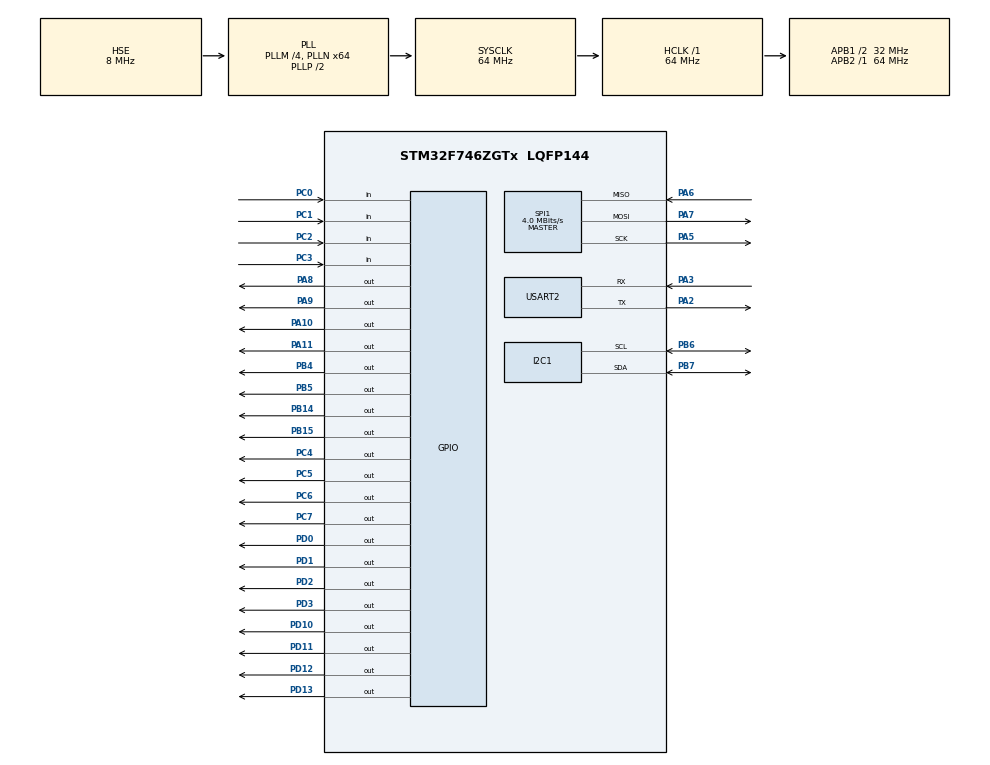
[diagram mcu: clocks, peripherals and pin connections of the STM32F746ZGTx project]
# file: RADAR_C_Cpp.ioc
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I2C1.Timing=0x00707CBB
Mcu.Family=STM32F7
Mcu.Name=STM32F746ZGTx
Mcu.Package=LQFP144
NVIC.PriorityGroup=NVIC_PRIORITYGROUP_4
PA10.Signal=GPIO_Output
PA11.Signal=GPIO_Output
PA13.Mode=Serial_Wire
PA13.Signal=SYS_JTMS-SWDIO
PA14.Mode=Serial_Wire
PA14.Signal=SYS_JTCK-SWCLK
PA2.Mode=Asynchronous
PA2.Signal=USART2_TX
PA3.Mode=Asynchronous
PA3.Signal=USART2_RX
PA5.Mode=Full_Duplex_Master
PA5.Signal=SPI1_SCK
PA6.Mode=Full_Duplex_Master
PA6.Signal=SPI1_MISO
PA7.Mode=Full_Duplex_Master
PA7.Signal=SPI1_MOSI
PA8.Signal=GPIO_Output
PA9.Signal=GPIO_Output
PB14.Signal=GPIO_Output
PB15.Signal=GPIO_Output
PB4.Signal=GPIO_Output
PB5.Signal=GPIO_Output
PB6.Mode=I2C
PB6.Signal=I2C1_SCL
PB7.Mode=I2C
PB7.Signal=I2C1_SDA
PC0.Signal=GPIO_Input
PC1.Signal=GPIO_Input
PC14/OSC32_IN.Mode=LSE-External-Oscillator
PC14/OSC32_IN.Signal=RCC_OSC32_IN
PC15/OSC32_OUT.Mode=LSE-External-Oscillator
PC15/OSC32_OUT.Signal=RCC_OSC32_OUT
PC2.Signal=GPIO_Input
PC3.Signal=GPIO_Input
PC4.Signal=GPIO_Output
PC5.Signal=GPIO_Output
PC6.Signal=GPIO_Output
PC7.Signal=GPIO_Output
PD0.Signal=GPIO_Output
PD1.Signal=GPIO_Output
PD10.Signal=GPIO_Output
PD11.Signal=GPIO_Output
PD12.Signal=GPIO_Output
PD13.Signal=GPIO_Output
PD2.Signal=GPIO_Output
PD3.Signal=GPIO_Output
PH0/OSC_IN.Mode=HSE-External-Oscillator
PH0/OSC_IN.Signal=RCC_OSC_IN
PH1/OSC_OUT.Mode=HSE-External-Oscillator
PH1/OSC_OUT.Signal=RCC_OSC_OUT
ProjectManager.HeapSize=0x200
ProjectManager.StackSize=0x400
ProjectManager.TargetToolchain=STM32CubeIDE
RCC.AHBFreq_Value=64000000
RCC.APB1CLKDivider=RCC_HCLK_DIV2
RCC.APB1Freq_Value=32000000
RCC.APB1TimFreq_Value=64000000
RCC.APB2Freq_Value=64000000
RCC.APB2TimFreq_Value=64000000
RCC.CortexFreq_Value=64000000
RCC.HCLKFreq_Value=64000000
RCC.HSE_VALUE=8000000
RCC.HSI_VALUE=16000000
RCC.PLLM=4
RCC.PLLN=64
RCC.PLLSourceVirtual=RCC_PLLSOURCE_HSE
RCC.SYSCLKFreq_VALUE=64000000
RCC.SYSCLKSource=RCC_SYSCLKSOURCE_PLLCLK
RCC.USBFreq_Value=64000000
RCC.VCOOutputFreq_Value=128000000
SPI1.BaudRatePrescaler=SPI_BAUDRATEPRESCALER_16
SPI1.CalculateBaudRate=4.0 MBits/s
SPI1.DataSize=SPI_DATASIZE_8BIT
SPI1.Direction=SPI_DIRECTION_2LINES
SPI1.Mode=SPI_MODE_MASTER
SPI1.VirtualType=VM_MASTER
USART2.VirtualMode-Asynchronous=VM_ASYNC
VP_TIM1_VS_ClockSourceINT.Mode=Internal
board=custom

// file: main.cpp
/* USER CODE BEGIN Header */
/**
  ******************************************************************************
  * @file           : main.c
  * @brief          : Main program body
  ******************************************************************************
  * @attention
  *
  * Copyright (c) 2025 STMicroelectronics.
  * All rights reserved.
  *
  * This software is licensed under terms that can be found in the LICENSE file
  * in the root directory of this software component.
  * If no LICENSE file comes with this software, it is provided AS-IS.
  *
  ******************************************************************************
  */
/* USER CODE END Header */
#include "main.h"

/* USER CODE BEGIN Includes */
#include "si5351.h"
#include "parameters.h"
#include "adf4382.h"
#include "adar1000.h"
#include "hardware_config.h"
#include "no_os_delay.h"
#include "no_os_alloc.h"
#include "no_os_print_log.h"
#include "no_os_error.h"
#include "no_os_units.h"
#include "no_os_dma.h"
#include "no_os_spi.h"
#include "no_os_uart.h"
#include "no_os_util.h"
#include <stdint.h>
#include <errno.h>
#include <math.h>
#include <stdio.h>
#include <string.h>
#include <inttypes.h>
#include <iostream>
#include <vector>
/* USER CODE END Includes */

/* USER CODE BEGIN PTD */
#define debug_uart	1
#define BUFFER_SIZE 16 //ADAR
#define Delay_scan 1 //Delay between each TX,RX scan// 1 corresponds to 15.6 ns// check delay_15ns() function
#define Delay_scan_rx 1 //Delay between each TX,RX scan// 1 corresponds to 15.6 ns// check delay_15ns() function

 Si5351 si5351;

 ////////////////////////////////////////////////////////////////////////////////
 ///////////////////////////////ADF4382//////////////////////////////////////////
 ////////////////////////////////////////////////////////////////////////////////

 struct no_os_uart_init_param adf4382_uart_ip = {
 	.device_id = UART_DEVICE_ID,
 	.irq_id = UART_IRQ_ID,
 	.asynchronous_rx = true,
 	.baud_rate = UART_BAUDRATE,
 	.size = NO_OS_UART_CS_8,
 	.parity = NO_OS_UART_PAR_NO,
 	.stop = NO_OS_UART_STOP_1_BIT,
 	.platform_ops = UART_OPS,
 	.extra = UART_EXTRA,
 };

 struct no_os_spi_init_param adf4382_spi_ip = {
 	.device_id = SPI_DEVICE_ID,
 	.max_speed_hz = 4000000,
	.chip_select = SPI_CS,
 	.mode = NO_OS_SPI_MODE_0,
 	.bit_order = NO_OS_SPI_BIT_ORDER_MSB_FIRST,
 	.platform_ops = SPI_OPS,
 	.extra = SPI_EXTRA,
 };

 struct adf4382_init_param adf4382_ip = {
 	.spi_init = &adf4382_spi_ip,
 	.spi_3wire_en = false,
 	.cmos_3v3 = false,
 	.ref_freq_hz = 100000000,
 	.freq = 10500000000ULL,
 	.ref_doubler_en = 1,
 	.ref_div = 1,
 	.cp_i = 15,
 	.bleed_word = 4903,
 	.ld_count = 10,
 	.id = ID_ADF4382A,
 };

 struct adf4382_dev *adf4382_device = NULL; // Pointer to device

 ////////////////////////////////////////////////////////////////////////////////
 //////////////////////////////ADAR1000//////////////////////////////////////////
 ////////////////////////////////////////////////////////////////////////////////

 uint8_t txBuffer[BUFFER_SIZE] = {0xA1, 0xB2, 0xC3, 0xD4};  // Example data
 uint8_t rxBuffer1[BUFFER_SIZE] = {0};  // Receive buffer
 uint8_t rxBuffer2[BUFFER_SIZE] = {0};  // Receive buffer
 uint8_t rxBuffer3[BUFFER_SIZE] = {0};  // Receive buffer
 uint8_t rxBuffer4[BUFFER_SIZE] = {0};  // Receive buffer

 uint32_t SpiTransferFunction(uint8_t *p_txData, uint8_t *p_rxData, uint32_t size) {
 	HAL_GPIO_WritePin(GPIO_ADAR, CS_ADAR_1, GPIO_PIN_RESET);
 	HAL_GPIO_WritePin(GPIO_ADAR, CS_ADAR_2, GPIO_PIN_RESET);
 	HAL_GPIO_WritePin(GPIO_ADAR, CS_ADAR_3, GPIO_PIN_RESET);
 	HAL_GPIO_WritePin(GPIO_ADAR, CS_ADAR_4, GPIO_PIN_RESET);
 	HAL_StatusTypeDef status = HAL_SPI_TransmitReceive(&hspi1, p_txData, p_rxData, size, HAL_MAX_DELAY);
    HAL_GPIO_WritePin(GPIO_ADAR, CS_ADAR_1, GPIO_PIN_SET);
    HAL_GPIO_WritePin(GPIO_ADAR, CS_ADAR_2, GPIO_PIN_SET);
    HAL_GPIO_WritePin(GPIO_ADAR, CS_ADAR_3, GPIO_PIN_SET);
    HAL_GPIO_WritePin(GPIO_ADAR, CS_ADAR_4, GPIO_PIN_SET);
    return (status == HAL_OK) ? 0 : 1;  // Return 0 on success, 1 on failure
 }

 /// Generic ADAR device that contains a hardware address, SPI transfer function
 /// and a pointer to a buffer to receive data into.

 // Define the ADAR1000 device instance
 const AdarDevice ADAR1 = {
     .dev_addr = 0x00,               // Example hardware address
     .Transfer = SpiTransferFunction, // Assign SPI function pointer
     .p_rx_buffer = rxBuffer1         // Assign receive buffer
 };
 const AdarDevice ADAR2 = {
     .dev_addr = 0x01,               // Example hardware address
     .Transfer = SpiTransferFunction, // Assign SPI function pointer
     .p_rx_buffer = rxBuffer2         // Assign receive buffer
 };
 const AdarDevice ADAR3 = {
     .dev_addr = 0x10,               // Example hardware address
     .Transfer = SpiTransferFunction, // Assign SPI function pointer
     .p_rx_buffer = rxBuffer3         // Assign receive buffer
 };
 const AdarDevice ADAR4 = {
     .dev_addr = 0x11,               // Example hardware address
     .Transfer = SpiTransferFunction, // Assign SPI function pointer
     .p_rx_buffer = rxBuffer4         // Assign receive buffer
 };

 AdarBiasCurrents ADAR_BC ={ //bias current
	.rx_lna = 8,		///< nominal:  8, low power: 5
	.rx_vm = 5,			///< nominal:  5, low power: 2
	.rx_vga = 10,		///< nominal: 10, low power: 3
	.tx_vm = 5,			///< nominal:  5, low power: 2
	.tx_vga = 5,		///< nominal:  5, low power: 5
	.tx_drv	= 6			///< nominal:  6, low power: 3
 };
/* USER CODE END PTD */

I2C_HandleTypeDef hi2c1;

SPI_HandleTypeDef hspi1;

TIM_HandleTypeDef htim1;

UART_HandleTypeDef huart2;

void SystemClock_Config(void);
static void MX_GPIO_Init(void);
static void MX_I2C1_Init(void);
static void MX_SPI1_Init(void);
static void MX_TIM1_Init(void);
static void MX_USART2_UART_Init(void);
/* USER CODE BEGIN PFP */

void delay_15ns(volatile long unsigned int ns){
__HAL_TIM_SET_COUNTER(&htim1,0);  // set the counter value a
while (__HAL_TIM_GET_COUNTER(&htim1) < ns);  // //Clock TIMx -> AHB/APB1 is set to 64MHz/presc+1   presc = 0
//delay_15ns(1) would perform a delay of 15.6ns
}

/* USER CODE END PFP */

int main(void)
{

  /* MCU Configuration--------------------------------------------------------*/

  /* Reset of all peripherals, Initializes the Flash interface and the Systick. */
  HAL_Init();

  /* Configure the system clock */
  SystemClock_Config();

  /* Initialize all configured peripherals */
  MX_GPIO_Init();
  MX_I2C1_Init();
  MX_SPI1_Init();
  MX_TIM1_Init();
  MX_USART2_UART_Init();
  /* USER CODE BEGIN 2 */

  HAL_TIM_Base_Start(&htim1);
  //////////////////////////////////////////////////////////////////////////////////////
  /////////////////////////////////////Votage Enable////////////////////////////////////
  //////////////////////////////////////////////////////////////////////////////////////

  //3.3V to ADAR should be set before -5V
  HAL_GPIO_WritePin(GPIO_VR, EN_32, GPIO_PIN_SET);//active high
  HAL_GPIO_WritePin(GPIO_VR, EN_42, GPIO_PIN_SET);//active High

  //////////////////////////////////////////////////////////////////////////////////////
  /////////////////////////////////////SI5351///////////////////////////////////////////
  //////////////////////////////////////////////////////////////////////////////////////
  si5351.init(SI5351_CRYSTAL_LOAD_8PF, 0, 0);
  HAL_GPIO_WritePin(GPIO_si5351, SI5351_CLK_EN, GPIO_PIN_RESET);//active low
  HAL_GPIO_WritePin(GPIO_si5351, SI5351_SS_EN, GPIO_PIN_SET);//active High (Spread Spectrum)
  //each unity on set_freq(unityULL, SI5351_CLK4) represents 0.01Hz
  si5351.set_freq(10000000000ULL, SI5351_CLK4);//set FPGA main clock to 100MHz
  si5351.set_freq(10000000000ULL, SI5351_CLK6);//ADF4382 clock
  si5351.update_status();
  HAL_Delay(500);
  if(debug_uart)
  {	  //When the synthesizers are locked and the Si5351 is working correctly, you'll see an output similar to this one (the REVID may be different):
      //SYS_INIT: 0  LOL_A: 0  LOL_B: 0  LOS: 0  REVID: 3
	  char buffer[10];
	  HAL_UART_Transmit(&huart2, (uint8_t*)"PLLA: " , strlen("PLLA: ") , 10);
	  HAL_UART_Transmit(&huart2, (uint8_t*)buffer, sprintf(buffer, "%llu", si5351.plla_freq/100), 10);
	  HAL_UART_Transmit(&huart2, (uint8_t*)"  PLLB: " , strlen("  PLLB: ") , 10);
	  HAL_UART_Transmit(&huart2, (uint8_t*)buffer, sprintf(buffer, "%llu", si5351.pllb_freq/100), 10);
	  HAL_UART_Transmit(&huart2, (uint8_t*)"  SYS_INIT: " , strlen("  SYS_INIT: ") , 10);
	  HAL_UART_Transmit(&huart2, (uint8_t*)buffer, sprintf(buffer, "%u", si5351.dev_status.SYS_INIT), 10);
	  HAL_UART_Transmit(&huart2, (uint8_t*)"  LOL_A: " , strlen("  LOL_A: ") , 10);
	  HAL_UART_Transmit(&huart2, (uint8_t*)buffer, sprintf(buffer, "%u", si5351.dev_status.LOL_A), 10);
	  HAL_UART_Transmit(&huart2, (uint8_t*)"  LOL_B: " , strlen("  LOL_B ") , 10);
	  HAL_UART_Transmit(&huart2, (uint8_t*)buffer, sprintf(buffer, "%u", si5351.dev_status.LOL_B), 10);
	  HAL_UART_Transmit(&huart2, (uint8_t*)"  LOS: " , strlen("  LOS: ") , 10);
	  HAL_UART_Transmit(&huart2, (uint8_t*)buffer, sprintf(buffer, "%u", si5351.dev_status.LOS), 10);
	  HAL_UART_Transmit(&huart2, (uint8_t*)"  REVID: " , strlen("  REVID: ") , 10);
	  HAL_UART_Transmit(&huart2, (uint8_t*)buffer, sprintf(buffer, "%u", si5351.dev_status.REVID), 10);
	  HAL_UART_Transmit(&huart2, (uint8_t*)"\r\n" , strlen("\r\n" ) , 10);
  }

  //////////////////////////////////////////////////////////////////////////////////////
  /////////////////////////////////////ADF4382//////////////////////////////////////////
  //////////////////////////////////////////////////////////////////////////////////////

  int status = adf4382_init(&adf4382_device ,&adf4382_ip);
  if (status != 0) {
      // Handle initialization error
  }

  status = adf4382_set_freq(adf4382_device);
  if (status != 0) {
      // Handle frequency setting error
  }

  adf4382_set_en_chan(adf4382_device, 0, true);
  adf4382_set_en_chan(adf4382_device, 1, true);
  HAL_GPIO_WritePin(GPIO_ADF, ADF_CE, GPIO_PIN_SET);//active High

  //HAL_GPIO_WritePin(GPIO_ADF, ADF_DELSTR, GPIO_PIN_SET);
  //HAL_GPIO_WritePin(GPIO_ADF, ADF_DELADJ, GPIO_PIN_SET);

  //////////////////////////////////////////////////////////////////////////////////////
  /////////////////////////////////////LTC5552 Mixers///////////////////////////////////
  //////////////////////////////////////////////////////////////////////////////////////

  HAL_GPIO_WritePin(GPIO_DIG, DIG_2, GPIO_PIN_SET); //Enable RX Mixer
  HAL_GPIO_WritePin(GPIO_DIG, DIG_3, GPIO_PIN_SET); //Enable TX Mixer

  //////////////////////////////////////////////////////////////////////////////////////
  /////////////////////////////////////ADAR1000/////////////////////////////////////////
  //////////////////////////////////////////////////////////////////////////////////////

	 //phase_step = 0 => phase = 0°
	 //phase_step = 127 => phase = 360°
	 //steering angle (rad)= arcsin(phase_dif/Pi)

  uint8_t matrix1[22][16];
  uint8_t vector_0[16]={0,0,0,0,0,0,0,0,0,0,0,0,0,0,0,0};
  uint8_t matrix2[22][16];
  for(int j=0; j<15;j++){
	  for(int i=0; i<21;i++){
		  matrix1[i][j]=(2*(i+1)*(15-j))%127;
		  matrix2[i][j]=matrix1[i][15-j];
		  i++;
	  }
	  j++;
  }
  Adar_AdcInit(&ADAR1, BROADCAST_OFF);//init. ADC
  Adar_AdcInit(&ADAR2, BROADCAST_OFF);//init. ADC
  Adar_AdcInit(&ADAR3, BROADCAST_OFF);//init. ADC
  Adar_AdcInit(&ADAR4, BROADCAST_OFF);//init. ADC
  uint8_t Temp1 = Adar_AdcRead(&ADAR1,BROADCAST_OFF);//Read ADC from single ADAR
  uint8_t Temp2 = Adar_AdcRead(&ADAR2,BROADCAST_OFF);
  uint8_t Temp3 = Adar_AdcRead(&ADAR3,BROADCAST_OFF);
  uint8_t Temp4 = Adar_AdcRead(&ADAR4,BROADCAST_OFF);

  if(debug_uart){
	  char buffer[10];
	  HAL_UART_Transmit(&huart2, (uint8_t*)"Temp1: " , strlen("Temp1: ") , 10);
	  HAL_UART_Transmit(&huart2, (uint8_t*)buffer, sprintf(buffer, "%u", Temp1), 10);
	  HAL_UART_Transmit(&huart2, (uint8_t*)"  Temp2: " , strlen("  Temp2: ") , 10);
	  HAL_UART_Transmit(&huart2, (uint8_t*)buffer, sprintf(buffer, "%u", Temp2), 10);
	  HAL_UART_Transmit(&huart2, (uint8_t*)"  Temp3: " , strlen("  Temp3: ") , 10);
	  HAL_UART_Transmit(&huart2, (uint8_t*)buffer, sprintf(buffer, "%u", Temp3), 10);
	  HAL_UART_Transmit(&huart2, (uint8_t*)"  Temp4: " , strlen("  Temp4: ") , 10);
	  HAL_UART_Transmit(&huart2, (uint8_t*)buffer, sprintf(buffer, "%u", Temp4), 10);
	  HAL_UART_Transmit(&huart2, (uint8_t*)"\r\n" , strlen("\r\n" ) , 10);
  }

  Adar_SetBiasCurrents(&ADAR1,&ADAR_BC,BROADCAST_OFF);
  Adar_SetBiasCurrents(&ADAR2,&ADAR_BC,BROADCAST_OFF);
  Adar_SetBiasCurrents(&ADAR3,&ADAR_BC,BROADCAST_OFF);
  Adar_SetBiasCurrents(&ADAR4,&ADAR_BC,BROADCAST_OFF);

  uint8_t bias_on_voltage [5] = {0x39, 0x39, 0x39, 0x39, 0x00};//V_PA = -1.1V; V_LNA = 0V
  uint8_t bias_off_voltage [5] = {0x85, 0x85, 0x85, 0x85, 0x68};//V_PA = -2.5V; V_LNA = -2V

  HAL_GPIO_WritePin(GPIO_DIG, DIG_0, GPIO_PIN_RESET);//reset TR pin on FPGA for RX mode
  Adar_SetBiasVoltages(&ADAR1, bias_on_voltage, bias_off_voltage);
  Adar_SetBiasVoltages(&ADAR2, bias_on_voltage, bias_off_voltage);
  Adar_SetBiasVoltages(&ADAR3, bias_on_voltage, bias_off_voltage);
  Adar_SetBiasVoltages(&ADAR4, bias_on_voltage, bias_off_voltage);

  Adar_SetRxVgaGain(&ADAR1, 1, 16, BROADCAST_OFF);//16dB is the max
  Adar_SetRxVgaGain(&ADAR1, 2, 16, BROADCAST_OFF);
  Adar_SetRxVgaGain(&ADAR1, 3, 16, BROADCAST_OFF);
  Adar_SetRxVgaGain(&ADAR1, 4, 16, BROADCAST_OFF);

  Adar_SetRxVgaGain(&ADAR2, 1, 16, BROADCAST_OFF);//16dB is the max
  Adar_SetRxVgaGain(&ADAR2, 2, 16, BROADCAST_OFF);
  Adar_SetRxVgaGain(&ADAR2, 3, 16, BROADCAST_OFF);
  Adar_SetRxVgaGain(&ADAR2, 4, 16, BROADCAST_OFF);

  Adar_SetRxVgaGain(&ADAR3, 1, 16, BROADCAST_OFF);//16dB is the max
  Adar_SetRxVgaGain(&ADAR3, 2, 16, BROADCAST_OFF);
  Adar_SetRxVgaGain(&ADAR3, 3, 16, BROADCAST_OFF);
  Adar_SetRxVgaGain(&ADAR3, 4, 16, BROADCAST_OFF);

  Adar_SetRxVgaGain(&ADAR4, 1, 16, BROADCAST_OFF);//16dB is the max
  Adar_SetRxVgaGain(&ADAR4, 2, 16, BROADCAST_OFF);
  Adar_SetRxVgaGain(&ADAR4, 3, 16, BROADCAST_OFF);
  Adar_SetRxVgaGain(&ADAR4, 4, 16, BROADCAST_OFF);

  Adar_SetTxBias(&ADAR1, BROADCAST_OFF);//set to nominal...check adar1000.c
  Adar_SetTxBias(&ADAR2, BROADCAST_OFF);
  Adar_SetTxBias(&ADAR3, BROADCAST_OFF);
  Adar_SetTxBias(&ADAR4, BROADCAST_OFF);

  Adar_SetTxVgaGain(&ADAR1, 1, 0x7D, BROADCAST_OFF);//0xFF = max
  Adar_SetTxVgaGain(&ADAR1, 2, 0x7D, BROADCAST_OFF);
  Adar_SetTxVgaGain(&ADAR1, 3, 0x7D, BROADCAST_OFF);
  Adar_SetTxVgaGain(&ADAR1, 4, 0x7D, BROADCAST_OFF);

  Adar_SetTxVgaGain(&ADAR2, 1, 0x7D, BROADCAST_OFF);//0xFF = max
  Adar_SetTxVgaGain(&ADAR2, 2, 0x7D, BROADCAST_OFF);
  Adar_SetTxVgaGain(&ADAR2, 3, 0x7D, BROADCAST_OFF);
  Adar_SetTxVgaGain(&ADAR2, 4, 0x7D, BROADCAST_OFF);

  Adar_SetTxVgaGain(&ADAR3, 1, 0x7D, BROADCAST_OFF);//0xFF = max
  Adar_SetTxVgaGain(&ADAR3, 2, 0x7D, BROADCAST_OFF);
  Adar_SetTxVgaGain(&ADAR3, 3, 0x7D, BROADCAST_OFF);
  Adar_SetTxVgaGain(&ADAR3, 4, 0x7D, BROADCAST_OFF);

  Adar_SetTxVgaGain(&ADAR4, 1, 0x7D, BROADCAST_OFF);//0xFF = max
  Adar_SetTxVgaGain(&ADAR4, 2, 0x7D, BROADCAST_OFF);
  Adar_SetTxVgaGain(&ADAR4, 3, 0x7D, BROADCAST_OFF);
  Adar_SetTxVgaGain(&ADAR4, 4, 0x7D, BROADCAST_OFF);
  /* USER CODE END 2 */

  /* Infinite loop */
  /* USER CODE BEGIN WHILE */
  while (1)
  {
	  //////////////////////////////////////////////////////////////////////////////////////
	  /////////////////////////////////////ADAR1000/////////////////////////////////////////
	  //////////////////////////////////////////////////////////////////////////////////////

	 //phase_step = 0 => phase = 0°
	 //phase_step = 127 => phase = 360°
	 //steering angle (rad)= arcsin(phase_dif/Pi)
	  HAL_GPIO_WritePin(GPIO_DIG, DIG_1, GPIO_PIN_SET); // Send to FPGA_FT2232HQ start frame from ADC Matrix
	  HAL_Delay(1);
	  HAL_GPIO_WritePin(GPIO_DIG, DIG_1, GPIO_PIN_RESET); // Send to FPGA_FT2232HQ start frame from ADC Matrix

	for(int i = 0; i<21; i++){

		    Adar_SetTxPhase(&ADAR1,1 ,matrix1[i][0] , BROADCAST_OFF);
		    Adar_SetTxPhase(&ADAR1,2 ,matrix1[i][1] , BROADCAST_OFF);
		    Adar_SetTxPhase(&ADAR1,3 ,matrix1[i][2] , BROADCAST_OFF);
		    Adar_SetTxPhase(&ADAR1,4 ,matrix1[i][3] , BROADCAST_OFF);

		    Adar_SetTxPhase(&ADAR2,1 ,matrix1[i][4] , BROADCAST_OFF);
		    Adar_SetTxPhase(&ADAR2,2 ,matrix1[i][5] , BROADCAST_OFF);
		    Adar_SetTxPhase(&ADAR2,3 ,matrix1[i][6] , BROADCAST_OFF);
		    Adar_SetTxPhase(&ADAR2,4 ,matrix1[i][7] , BROADCAST_OFF);

		    Adar_SetTxPhase(&ADAR3,1 ,matrix1[i][8] , BROADCAST_OFF);
		    Adar_SetTxPhase(&ADAR3,2 ,matrix1[i][9] , BROADCAST_OFF);
		    Adar_SetTxPhase(&ADAR3,3 ,matrix1[i][10] , BROADCAST_OFF);
		    Adar_SetTxPhase(&ADAR3,4 ,matrix1[i][11] , BROADCAST_OFF);

		    Adar_SetTxPhase(&ADAR4,1 ,matrix1[i][12] , BROADCAST_OFF);
		    Adar_SetTxPhase(&ADAR4,2 ,matrix1[i][13] , BROADCAST_OFF);
		    Adar_SetTxPhase(&ADAR4,3 ,matrix1[i][14] , BROADCAST_OFF);
		    Adar_SetTxPhase(&ADAR4,4 ,matrix1[i][15] , BROADCAST_OFF);
		    HAL_GPIO_WritePin(GPIO_DIG, DIG_0, GPIO_PIN_SET);//set TR pin on FPGA for TX mode
		    HAL_GPIO_TogglePin(GPIO_LED, LED_1);
		    delay_15ns(Delay_scan);

		    Adar_SetRxPhase(&ADAR1,1 ,matrix1[i][0] , BROADCAST_OFF);
			Adar_SetRxPhase(&ADAR1,2 ,matrix1[i][1] , BROADCAST_OFF);
			Adar_SetRxPhase(&ADAR1,3 ,matrix1[i][2] , BROADCAST_OFF);
			Adar_SetRxPhase(&ADAR1,4 ,matrix1[i][3] , BROADCAST_OFF);

			Adar_SetRxPhase(&ADAR2,1 ,matrix1[i][4] , BROADCAST_OFF);
			Adar_SetRxPhase(&ADAR2,2 ,matrix1[i][5] , BROADCAST_OFF);
			Adar_SetRxPhase(&ADAR2,3 ,matrix1[i][6] , BROADCAST_OFF);
			Adar_SetRxPhase(&ADAR2,4 ,matrix1[i][7] , BROADCAST_OFF);

			Adar_SetRxPhase(&ADAR3,1 ,matrix1[i][8] , BROADCAST_OFF);
			Adar_SetRxPhase(&ADAR3,2 ,matrix1[i][9] , BROADCAST_OFF);
			Adar_SetRxPhase(&ADAR3,3 ,matrix1[i][10] , BROADCAST_OFF);
			Adar_SetRxPhase(&ADAR3,4 ,matrix1[i][11] , BROADCAST_OFF);

			Adar_SetRxPhase(&ADAR4,1 ,matrix1[i][12] , BROADCAST_OFF);
			Adar_SetRxPhase(&ADAR4,2 ,matrix1[i][13] , BROADCAST_OFF);
			Adar_SetRxPhase(&ADAR4,3 ,matrix1[i][14] , BROADCAST_OFF);
			Adar_SetRxPhase(&ADAR4,4 ,matrix1[i][15] , BROADCAST_OFF);
		    HAL_GPIO_WritePin(GPIO_DIG, DIG_0, GPIO_PIN_RESET);//reset TR pin on FPGA for RX mode
		    HAL_GPIO_TogglePin(GPIO_LED, LED_2);
		    delay_15ns(Delay_scan_rx);
		}
	for(int i = 0; i<15; i++){

			    Adar_SetTxPhase(&ADAR1,1 ,vector_0[0] , BROADCAST_OFF);
			    Adar_SetTxPhase(&ADAR1,2 ,vector_0[1] , BROADCAST_OFF);
			    Adar_SetTxPhase(&ADAR1,3 ,vector_0[2] , BROADCAST_OFF);
			    Adar_SetTxPhase(&ADAR1,4 ,vector_0[3] , BROADCAST_OFF);

			    Adar_SetTxPhase(&ADAR2,1 ,vector_0[4] , BROADCAST_OFF);
			    Adar_SetTxPhase(&ADAR2,2 ,vector_0[5] , BROADCAST_OFF);
			    Adar_SetTxPhase(&ADAR2,3 ,vector_0[6] , BROADCAST_OFF);
			    Adar_SetTxPhase(&ADAR2,4 ,vector_0[7] , BROADCAST_OFF);

			    Adar_SetTxPhase(&ADAR3,1 ,vector_0[8] , BROADCAST_OFF);
			    Adar_SetTxPhase(&ADAR3,2 ,vector_0[9] , BROADCAST_OFF);
			    Adar_SetTxPhase(&ADAR3,3 ,vector_0[10] , BROADCAST_OFF);
			    Adar_SetTxPhase(&ADAR3,4 ,vector_0[11] , BROADCAST_OFF);

			    Adar_SetTxPhase(&ADAR4,1 ,vector_0[12] , BROADCAST_OFF);
			    Adar_SetTxPhase(&ADAR4,2 ,vector_0[13] , BROADCAST_OFF);
			    Adar_SetTxPhase(&ADAR4,3 ,vector_0[14] , BROADCAST_OFF);
			    Adar_SetTxPhase(&ADAR4,4 ,vector_0[15] , BROADCAST_OFF);
			    HAL_GPIO_WritePin(GPIO_DIG, DIG_0, GPIO_PIN_SET);//set TR pin on FPGA for TX mode
			    HAL_GPIO_TogglePin(GPIO_LED, LED_1);
			    delay_15ns(Delay_scan);

			    Adar_SetRxPhase(&ADAR1,1 ,vector_0[0] , BROADCAST_OFF);
				Adar_SetRxPhase(&ADAR1,2 ,vector_0[1] , BROADCAST_OFF);
				Adar_SetRxPhase(&ADAR1,3 ,vector_0[2] , BROADCAST_OFF);
				Adar_SetRxPhase(&ADAR1,4 ,vector_0[3] , BROADCAST_OFF);

				Adar_SetRxPhase(&ADAR2,1 ,vector_0[4] , BROADCAST_OFF);
				Adar_SetRxPhase(&ADAR2,2 ,vector_0[5] , BROADCAST_OFF);
				Adar_SetRxPhase(&ADAR2,3 ,vector_0[6] , BROADCAST_OFF);
				Adar_SetRxPhase(&ADAR2,4 ,vector_0[7] , BROADCAST_OFF);

				Adar_SetRxPhase(&ADAR3,1 ,vector_0[8] , BROADCAST_OFF);
				Adar_SetRxPhase(&ADAR3,2 ,vector_0[9] , BROADCAST_OFF);
				Adar_SetRxPhase(&ADAR3,3 ,vector_0[10] , BROADCAST_OFF);
				Adar_SetRxPhase(&ADAR3,4 ,vector_0[11] , BROADCAST_OFF);

				Adar_SetRxPhase(&ADAR4,1 ,vector_0[12] , BROADCAST_OFF);
				Adar_SetRxPhase(&ADAR4,2 ,vector_0[13] , BROADCAST_OFF);
				Adar_SetRxPhase(&ADAR4,3 ,vector_0[14] , BROADCAST_OFF);
				Adar_SetRxPhase(&ADAR4,4 ,vector_0[15] , BROADCAST_OFF);
			    HAL_GPIO_WritePin(GPIO_DIG, DIG_0, GPIO_PIN_RESET);//reset TR pin on FPGA for RX mode
			    HAL_GPIO_TogglePin(GPIO_LED, LED_2);
			    delay_15ns(Delay_scan_rx);
			}

	for(int i = 0; i<21; i++){

		    Adar_SetTxPhase(&ADAR1,1 ,matrix2[i][0] , BROADCAST_OFF);
		    Adar_SetTxPhase(&ADAR1,2 ,matrix2[i][1] , BROADCAST_OFF);
		    Adar_SetTxPhase(&ADAR1,3 ,matrix2[i][2] , BROADCAST_OFF);
		    Adar_SetTxPhase(&ADAR1,4 ,matrix2[i][3] , BROADCAST_OFF);

		    Adar_SetTxPhase(&ADAR2,1 ,matrix2[i][4] , BROADCAST_OFF);
		    Adar_SetTxPhase(&ADAR2,2 ,matrix2[i][5] , BROADCAST_OFF);
		    Adar_SetTxPhase(&ADAR2,3 ,matrix2[i][6] , BROADCAST_OFF);
		    Adar_SetTxPhase(&ADAR2,4 ,matrix2[i][7] , BROADCAST_OFF);

		    Adar_SetTxPhase(&ADAR3,1 ,matrix2[i][8] , BROADCAST_OFF);
		    Adar_SetTxPhase(&ADAR3,2 ,matrix2[i][9] , BROADCAST_OFF);
		    Adar_SetTxPhase(&ADAR3,3 ,matrix2[i][10] , BROADCAST_OFF);
		    Adar_SetTxPhase(&ADAR3,4 ,matrix2[i][11] , BROADCAST_OFF);

		    Adar_SetTxPhase(&ADAR4,1 ,matrix2[i][12] , BROADCAST_OFF);
		    Adar_SetTxPhase(&ADAR4,2 ,matrix2[i][13] , BROADCAST_OFF);
		    Adar_SetTxPhase(&ADAR4,3 ,matrix2[i][14] , BROADCAST_OFF);
		    Adar_SetTxPhase(&ADAR4,4 ,matrix2[i][15] , BROADCAST_OFF);
		    HAL_GPIO_WritePin(GPIO_DIG, DIG_0, GPIO_PIN_SET);//set TR pin on FPGA for TX mode
		    HAL_GPIO_TogglePin(GPIO_LED, LED_1);
		    delay_15ns(Delay_scan);

		    Adar_SetRxPhase(&ADAR1,1 ,matrix2[i][0] , BROADCAST_OFF);
			Adar_SetRxPhase(&ADAR1,2 ,matrix2[i][1] , BROADCAST_OFF);
			Adar_SetRxPhase(&ADAR1,3 ,matrix2[i][2] , BROADCAST_OFF);
			Adar_SetRxPhase(&ADAR1,4 ,matrix2[i][3] , BROADCAST_OFF);

			Adar_SetRxPhase(&ADAR2,1 ,matrix2[i][4] , BROADCAST_OFF);
			Adar_SetRxPhase(&ADAR2,2 ,matrix2[i][5] , BROADCAST_OFF);
			Adar_SetRxPhase(&ADAR2,3 ,matrix2[i][6] , BROADCAST_OFF);
			Adar_SetRxPhase(&ADAR2,4 ,matrix2[i][7] , BROADCAST_OFF);

			Adar_SetRxPhase(&ADAR3,1 ,matrix2[i][8] , BROADCAST_OFF);
			Adar_SetRxPhase(&ADAR3,2 ,matrix2[i][9] , BROADCAST_OFF);
			Adar_SetRxPhase(&ADAR3,3 ,matrix2[i][10] , BROADCAST_OFF);
			Adar_SetRxPhase(&ADAR3,4 ,matrix2[i][11] , BROADCAST_OFF);

			Adar_SetRxPhase(&ADAR4,1 ,matrix2[i][12] , BROADCAST_OFF);
			Adar_SetRxPhase(&ADAR4,2 ,matrix2[i][13] , BROADCAST_OFF);
			Adar_SetRxPhase(&ADAR4,3 ,matrix2[i][14] , BROADCAST_OFF);
			Adar_SetRxPhase(&ADAR4,4 ,matrix2[i][15] , BROADCAST_OFF);
		    HAL_GPIO_WritePin(GPIO_DIG, DIG_0, GPIO_PIN_RESET);//reset TR pin on FPGA for RX mode
		    HAL_GPIO_TogglePin(GPIO_LED, LED_2);
		    delay_15ns(Delay_scan_rx);
		}
	//Send commands to the auxilliary board to set motor position and get GPS data

    /* USER CODE END WHILE */

  }
}

void SystemClock_Config(void)
{
  RCC_OscInitTypeDef RCC_OscInitStruct = {0};
  RCC_ClkInitTypeDef RCC_ClkInitStruct = {0};

  /** Configure LSE Drive Capability
  */
  HAL_PWR_EnableBkUpAccess();

  /** Configure the main internal regulator output voltage
  */
  __HAL_RCC_PWR_CLK_ENABLE();
  __HAL_PWR_VOLTAGESCALING_CONFIG(PWR_REGULATOR_VOLTAGE_SCALE3);

  /** Initializes the RCC Oscillators according to the specified parameters
  * in the RCC_OscInitTypeDef structure.
  */
  RCC_OscInitStruct.OscillatorType = RCC_OSCILLATORTYPE_HSE;
  RCC_OscInitStruct.HSEState = RCC_HSE_ON;
  RCC_OscInitStruct.PLL.PLLState = RCC_PLL_ON;
  RCC_OscInitStruct.PLL.PLLSource = RCC_PLLSOURCE_HSE;
  RCC_OscInitStruct.PLL.PLLM = 4;
  RCC_OscInitStruct.PLL.PLLN = 64;
  RCC_OscInitStruct.PLL.PLLP = RCC_PLLP_DIV2;
  RCC_OscInitStruct.PLL.PLLQ = 2;
  if (HAL_RCC_OscConfig(&RCC_OscInitStruct) != HAL_OK)
  {
    Error_Handler();
  }

  /** Initializes the CPU, AHB and APB buses clocks
  */
  RCC_ClkInitStruct.ClockType = RCC_CLOCKTYPE_HCLK|RCC_CLOCKTYPE_SYSCLK
                              |RCC_CLOCKTYPE_PCLK1|RCC_CLOCKTYPE_PCLK2;
  RCC_ClkInitStruct.SYSCLKSource = RCC_SYSCLKSOURCE_PLLCLK;
  RCC_ClkInitStruct.AHBCLKDivider = RCC_SYSCLK_DIV1;
  RCC_ClkInitStruct.APB1CLKDivider = RCC_HCLK_DIV2;
  RCC_ClkInitStruct.APB2CLKDivider = RCC_HCLK_DIV1;

  if (HAL_RCC_ClockConfig(&RCC_ClkInitStruct, FLASH_LATENCY_2) != HAL_OK)
  {
    Error_Handler();
  }
}

static void MX_I2C1_Init(void)
{

  hi2c1.Instance = I2C1;
  hi2c1.Init.Timing = 0x00707CBB;
  hi2c1.Init.OwnAddress1 = 0;
  hi2c1.Init.AddressingMode = I2C_ADDRESSINGMODE_7BIT;
  hi2c1.Init.DualAddressMode = I2C_DUALADDRESS_DISABLE;
  hi2c1.Init.OwnAddress2 = 0;
  hi2c1.Init.OwnAddress2Masks = I2C_OA2_NOMASK;
  hi2c1.Init.GeneralCallMode = I2C_GENERALCALL_DISABLE;
  hi2c1.Init.NoStretchMode = I2C_NOSTRETCH_DISABLE;
  if (HAL_I2C_Init(&hi2c1) != HAL_OK)
  {
    Error_Handler();
  }

  /** Configure Analogue filter
  */
  if (HAL_I2CEx_ConfigAnalogFilter(&hi2c1, I2C_ANALOGFILTER_ENABLE) != HAL_OK)
  {
    Error_Handler();
  }

  /** Configure Digital filter
  */
  if (HAL_I2CEx_ConfigDigitalFilter(&hi2c1, 0) != HAL_OK)
  {
    Error_Handler();
  }

}

static void MX_SPI1_Init(void)
{

  /* SPI1 parameter configuration*/
  hspi1.Instance = SPI1;
  hspi1.Init.Mode = SPI_MODE_MASTER;
  hspi1.Init.Direction = SPI_DIRECTION_2LINES;
  hspi1.Init.DataSize = SPI_DATASIZE_8BIT;
  hspi1.Init.CLKPolarity = SPI_POLARITY_LOW;
  hspi1.Init.CLKPhase = SPI_PHASE_1EDGE;
  hspi1.Init.NSS = SPI_NSS_SOFT;
  hspi1.Init.BaudRatePrescaler = SPI_BAUDRATEPRESCALER_16;
  hspi1.Init.FirstBit = SPI_FIRSTBIT_MSB;
  hspi1.Init.TIMode = SPI_TIMODE_DISABLE;
  hspi1.Init.CRCCalculation = SPI_CRCCALCULATION_DISABLE;
  hspi1.Init.CRCPolynomial = 7;
  hspi1.Init.CRCLength = SPI_CRC_LENGTH_DATASIZE;
  hspi1.Init.NSSPMode = SPI_NSS_PULSE_ENABLE;
  if (HAL_SPI_Init(&hspi1) != HAL_OK)
  {
    Error_Handler();
  }

}

static void MX_TIM1_Init(void)
{

  TIM_ClockConfigTypeDef sClockSourceConfig = {0};
  TIM_MasterConfigTypeDef sMasterConfig = {0};

  htim1.Instance = TIM1;
  htim1.Init.Prescaler = 0;
  htim1.Init.CounterMode = TIM_COUNTERMODE_UP;
  htim1.Init.Period = 65535;
  htim1.Init.ClockDivision = TIM_CLOCKDIVISION_DIV1;
  htim1.Init.RepetitionCounter = 0;
  htim1.Init.AutoReloadPreload = TIM_AUTORELOAD_PRELOAD_DISABLE;
  if (HAL_TIM_Base_Init(&htim1) != HAL_OK)
  {
    Error_Handler();
  }
  sClockSourceConfig.ClockSource = TIM_CLOCKSOURCE_INTERNAL;
  if (HAL_TIM_ConfigClockSource(&htim1, &sClockSourceConfig) != HAL_OK)
  {
    Error_Handler();
  }
  sMasterConfig.MasterOutputTrigger = TIM_TRGO_RESET;
  sMasterConfig.MasterOutputTrigger2 = TIM_TRGO2_RESET;
  sMasterConfig.MasterSlaveMode = TIM_MASTERSLAVEMODE_DISABLE;
  if (HAL_TIMEx_MasterConfigSynchronization(&htim1, &sMasterConfig) != HAL_OK)
  {
    Error_Handler();
  }

}

static void MX_USART2_UART_Init(void)
{

  huart2.Instance = USART2;
  huart2.Init.BaudRate = 115200;
  huart2.Init.WordLength = UART_WORDLENGTH_8B;
  huart2.Init.StopBits = UART_STOPBITS_1;
  huart2.Init.Parity = UART_PARITY_NONE;
  huart2.Init.Mode = UART_MODE_TX_RX;
  huart2.Init.HwFlowCtl = UART_HWCONTROL_NONE;
  huart2.Init.OverSampling = UART_OVERSAMPLING_16;
  huart2.Init.OneBitSampling = UART_ONE_BIT_SAMPLE_DISABLE;
  huart2.AdvancedInit.AdvFeatureInit = UART_ADVFEATURE_NO_INIT;
  if (HAL_UART_Init(&huart2) != HAL_OK)
  {
    Error_Handler();
  }

}

static void MX_GPIO_Init(void)
{
  GPIO_InitTypeDef GPIO_InitStruct = {0};

  /* GPIO Ports Clock Enable */
  __HAL_RCC_GPIOC_CLK_ENABLE();
  __HAL_RCC_GPIOH_CLK_ENABLE();
  __HAL_RCC_GPIOA_CLK_ENABLE();
  __HAL_RCC_GPIOB_CLK_ENABLE();
  __HAL_RCC_GPIOD_CLK_ENABLE();

  /*Configure GPIO pin Output Level */
  HAL_GPIO_WritePin(GPIOC, GPIO_PIN_4|GPIO_PIN_5|GPIO_PIN_6|GPIO_PIN_7, GPIO_PIN_RESET);

  /*Configure GPIO pin Output Level */
  HAL_GPIO_WritePin(GPIOB, GPIO_PIN_14|GPIO_PIN_15|GPIO_PIN_4|GPIO_PIN_5, GPIO_PIN_RESET);

  /*Configure GPIO pin Output Level */
  HAL_GPIO_WritePin(GPIOD, GPIO_PIN_10|GPIO_PIN_11|GPIO_PIN_12|GPIO_PIN_13
                          |GPIO_PIN_0|GPIO_PIN_1|GPIO_PIN_2|GPIO_PIN_3, GPIO_PIN_RESET);

  /*Configure GPIO pin Output Level */
  HAL_GPIO_WritePin(GPIOA, GPIO_PIN_8|GPIO_PIN_9|GPIO_PIN_10|GPIO_PIN_11, GPIO_PIN_RESET);

  /*Configure GPIO pins : PC4 PC5 PC6 PC7 */
  GPIO_InitStruct.Pin  = GPIO_PIN_4|GPIO_PIN_5|GPIO_PIN_6|GPIO_PIN_7;
  GPIO_InitStruct.Mode = GPIO_MODE_INPUT;
  GPIO_InitStruct.Pull = GPIO_NOPULL;
  HAL_GPIO_Init(GPIOC, &GPIO_InitStruct);

  /*Configure GPIO pins : PC0 PC1 PC2 PC3 */
  GPIO_InitStruct.Pin = GPIO_PIN_0|GPIO_PIN_1|GPIO_PIN_2|GPIO_PIN_3;
  GPIO_InitStruct.Mode = GPIO_MODE_OUTPUT_PP;
  GPIO_InitStruct.Pull = GPIO_NOPULL;
  GPIO_InitStruct.Speed = GPIO_SPEED_FREQ_LOW;
  HAL_GPIO_Init(GPIOC, &GPIO_InitStruct);

  /*Configure GPIO pins : PB14 PB15 PB4 PB5 */
  GPIO_InitStruct.Pin = GPIO_PIN_14|GPIO_PIN_15|GPIO_PIN_4|GPIO_PIN_5;
  GPIO_InitStruct.Mode = GPIO_MODE_OUTPUT_PP;
  GPIO_InitStruct.Pull = GPIO_NOPULL;
  GPIO_InitStruct.Speed = GPIO_SPEED_FREQ_LOW;
  HAL_GPIO_Init(GPIOB, &GPIO_InitStruct);

  /*Configure GPIO pins : PD10 PD11 PD12 PD13
                           PD0 PD1 PD2 PD3 */
  GPIO_InitStruct.Pin = GPIO_PIN_10|GPIO_PIN_11|GPIO_PIN_12|GPIO_PIN_13
                          |GPIO_PIN_0|GPIO_PIN_1|GPIO_PIN_2|GPIO_PIN_3;
  GPIO_InitStruct.Mode = GPIO_MODE_OUTPUT_PP;
  GPIO_InitStruct.Pull = GPIO_NOPULL;
  GPIO_InitStruct.Speed = GPIO_SPEED_FREQ_LOW;
  HAL_GPIO_Init(GPIOD, &GPIO_InitStruct);

  /*Configure GPIO pins : PA8 PA9 PA10 PA11 */
  GPIO_InitStruct.Pin = GPIO_PIN_8|GPIO_PIN_9|GPIO_PIN_10|GPIO_PIN_11;
  GPIO_InitStruct.Mode = GPIO_MODE_OUTPUT_PP;
  GPIO_InitStruct.Pull = GPIO_NOPULL;
  GPIO_InitStruct.Speed = GPIO_SPEED_FREQ_LOW;
  HAL_GPIO_Init(GPIOA, &GPIO_InitStruct);

}

void Error_Handler(void)
{
  __disable_irq();
  while (1)
  {
  }
}
